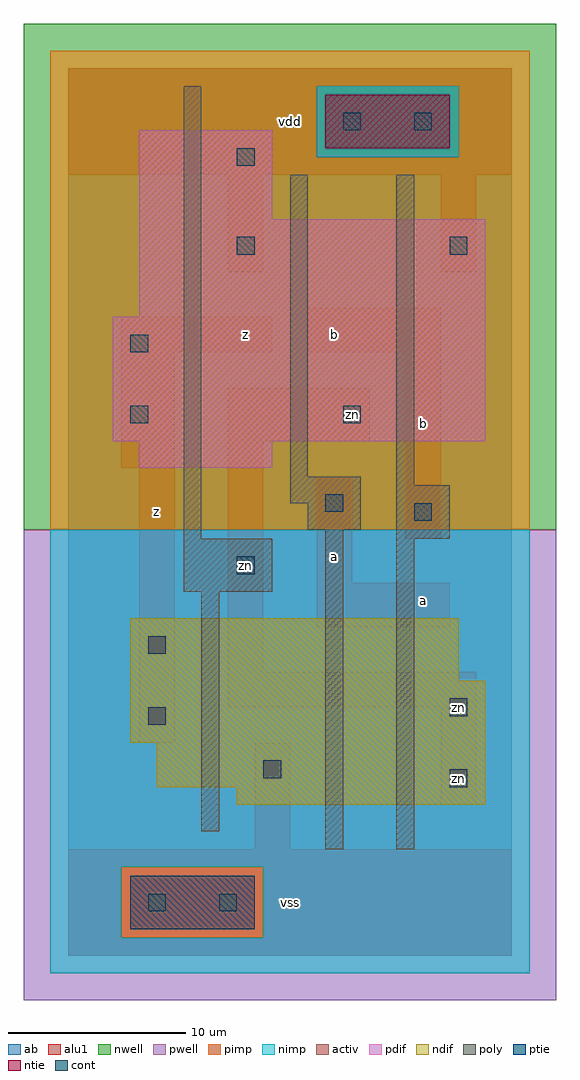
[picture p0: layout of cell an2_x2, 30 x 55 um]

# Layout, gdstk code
import gdstk
lib = gdstk.Library(unit=1e-6, precision=1e-09)
def R(c, l, rs):  # rectangles x0, y0, x1, y1
    for r in rs: c.add(gdstk.rectangle(r[:2], r[2:], *l))
ndif = (3, 0)
pdif = (4, 0)
ntie = (5, 0)
ptie = (6, 0)
cont = (25, 0)
pwell = (41, 0)
nwell = (42, 0)
activ = (43, 0)
pimp = (44, 0)
nimp = (45, 0)
poly = (46, 0)
alu1 = (49, 0)
ab = (63, 0)

an2_x2 = lib.new_cell('an2_x2')
R(an2_x2, ndif, [(9.5,8.5,23.5,9.5), (5,9.5,23.5,12), (3.5,12,23.5,15.5), (3.5,15.5,22,19)])
R(an2_x2, pdif, [(4,27.5,11.5,29), (2.5,29,23.5,36), (4,36,23.5,41.5), (4,41.5,11.5,46.5)])
R(an2_x2, ntie, [(14.5,45.5,21.5,48.5)])
R(an2_x2, ptie, [(3.5,1.5,10.5,4.5)])
R(an2_x2, cont, [(4.5,2.5,5.5,3.5), (8.5,2.5,9.5,3.5), (21.5,9.5,22.5,10.5), (11,10,12,11), (4.5,13,5.5,14), (21.5,13.5,22.5,14.5), (4.5,17,5.5,18), (9.5,21.5,10.5,22.5), (19.5,24.5,20.5,25.5), (14.5,25,15.5,26), (3.5,30,4.5,31), (15.5,30,16.5,31), (3.5,34,4.5,35), (9.5,39.5,10.5,40.5), (21.5,39.5,22.5,40.5), (9.5,44.5,10.5,45.5), (15.5,46.5,16.5,47.5), (19.5,46.5,20.5,47.5)])
R(an2_x2, pwell, [(-2.5,-2.5,27.5,24)])
R(an2_x2, nwell, [(-2.5,24,27.5,52.5)])
R(an2_x2, activ, [(3.5,1.5,10.5,4.5), (9.5,8.5,23.5,9.5), (5,9.5,23.5,12), (3.5,12,23.5,15.5), (3.5,15.5,22,19), (4,27.5,11.5,29), (2.5,29,23.5,36), (4,36,23.5,41.5), (4,41.5,11.5,46.5), (14.5,45.5,21.5,48.5)])
R(an2_x2, pimp, [(3,1,11,5), (-1,24,26,45), (-1,45,14,49), (22,45,26,49), (-1,49,26,51)])
R(an2_x2, nimp, [(-1,-1,26,1), (-1,1,3,5), (11,1,26,5), (-1,5,26,24), (14,45,22,49)])
R(an2_x2, poly, [(14.5,6,15.5,24), (18.5,6,19.5,23.5), (7.5,7,8.5,20.5), (6.5,20.5,11.5,23.5), (6.5,23.5,7.5,49), (18.5,23.5,21.5,26.5), (13.5,24,16.5,25.5), (12.5,25.5,16.5,27), (18.5,26.5,19.5,44), (12.5,27,13.5,44)])
R(an2_x2, alu1, [(0,0,25,6), (0,0,25,6), (10.5,6,12.5,12), (10.5,6,12.5,12), (21,8.5,23,14), (21,8.5,23,14), (4,12,6,27.5), (4,12,6,27.5), (9,14,23,16), (9,14,23,16), (9,16,11,29), (9,16,11,29), (14,18.5,21.5,21), (14,18.5,21.5,21), (14,21,16,27), (14,21,16,27), (19,23.5,21,34), (19,23.5,21,34), (3,27.5,6,34), (3,27.5,6,34), (9,29,17,32), (9,29,17,32), (3,34,11.5,36), (3,34,11.5,36), (13.5,34,21,36.5), (13.5,34,21,36.5), (9,38.5,11,44), (9,38.5,11,44), (21,38.5,23,44), (21,38.5,23,44), (0,44,25,50), (0,44,25,50)])
R(an2_x2, ab, [(0,0,25,50)])
an2_x2.add(gdstk.Label('zn', (10,22), layer=49, texttype=0))
an2_x2.add(gdstk.Label('zn', (22,14), layer=49, texttype=0))
an2_x2.add(gdstk.Label('zn', (22,10), layer=49, texttype=0))
an2_x2.add(gdstk.Label('zn', (16,30.5), layer=49, texttype=0))
an2_x2.add(gdstk.Label('z', (5,25), layer=49, texttype=0))
an2_x2.add(gdstk.Label('z', (10,35), layer=49, texttype=0))
an2_x2.add(gdstk.Label('vss', (12.5,3), layer=49, texttype=0))
an2_x2.add(gdstk.Label('a', (15,22.5), layer=49, texttype=0))
an2_x2.add(gdstk.Label('b', (15,35), layer=49, texttype=0))
an2_x2.add(gdstk.Label('vdd', (12.5,47), layer=49, texttype=0))
an2_x2.add(gdstk.Label('vdd', (12.5,47), layer=49, texttype=0))
an2_x2.add(gdstk.Label('a', (20,20), layer=49, texttype=0))
an2_x2.add(gdstk.Label('b', (20,30), layer=49, texttype=0))

lib.write_gds('an2_x2.gds')
